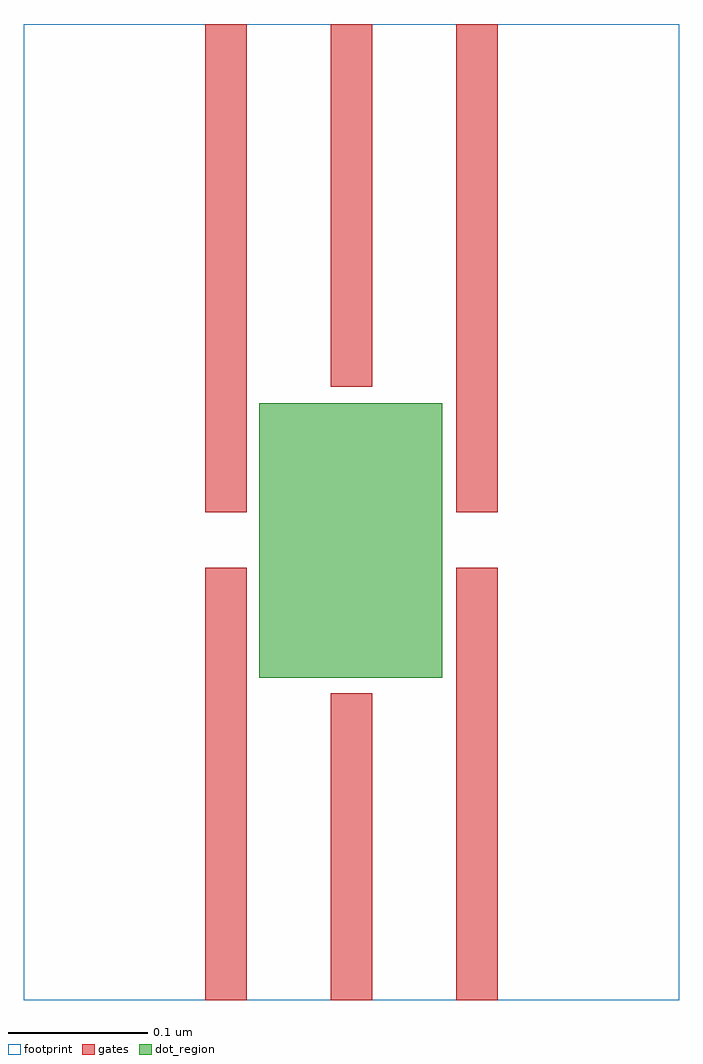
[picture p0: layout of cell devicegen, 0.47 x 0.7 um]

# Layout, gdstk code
import gdstk
lib = gdstk.Library(unit=1e-6, precision=1e-09)
def R(c, l, rs):  # rectangles x0, y0, x1, y1
    for r in rs: c.add(gdstk.rectangle(r[:2], r[2:], *l))
footprint = (0, 0)
dot_region = (1, 0)
gates = (4, 0)

devicegen = lib.new_cell('devicegen')
R(devicegen, footprint, [(0,0,0.47,0.7)])
R(devicegen, dot_region, [(0.169,0.231,0.3,0.428)])
R(devicegen, gates, [(0.13,0,0.16,0.31), (0.22,0,0.25,0.22), (0.31,0,0.34,0.31), (0.13,0.35,0.16,0.7), (0.31,0.35,0.34,0.7), (0.22,0.44,0.25,0.7)])

lib.write_gds('devicegen.gds')
